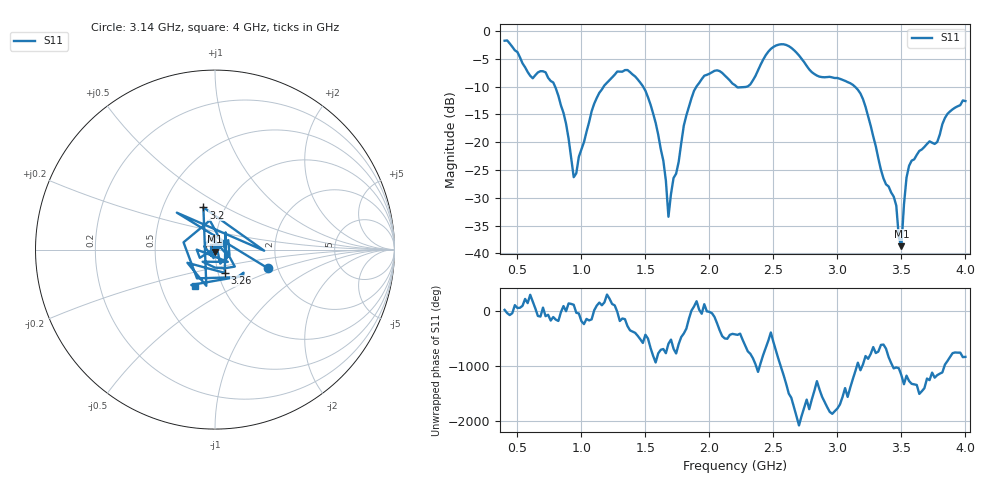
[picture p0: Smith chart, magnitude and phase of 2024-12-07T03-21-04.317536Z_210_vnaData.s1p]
!Created with skrf (http://scikit-rf.org).
# Hz S RI R 50.0
!freq ReS11 ImS11
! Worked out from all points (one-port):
!   181 points, 400 MHz to 4 GHz, reference 50 ohm
!   lowest |S11| = -38.7 dB at 3.5 GHz (marker M1), VSWR 1.02, Z = 50 - j1.16 ohm
!   |S11| at or under -10 dB: 794.2 MHz to 1.174 GHz (379.8 MHz wide, 38.6 % of centre); 1.482 GHz to 1.899 GHz (416.8 MHz wide, 24.7 % of centre); 3.136 GHz to end of sweep (the widest 3 of 4)
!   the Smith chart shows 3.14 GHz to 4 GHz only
!   S11 on the Smith chart (normalised r, x): 3.14 GHz: 1.78, -0.41; 3.2 GHz: 0.79, +0.40; 3.26 GHz: 1.08, -0.28; 4 GHz: 0.74, -0.32
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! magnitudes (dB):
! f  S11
! 400 MHz  -1.8
! 620 MHz  -8.5
! 720 MHz  -7.4
! 860 MHz  -14.7
! 940 MHz  -26.3
! 1.1 GHz  -13.1
! 1.3 GHz  -7.3
! 1.54 GHz  -13.2
! 1.64 GHz  -23.3
! 1.68 GHz  -33.4
! 1.76 GHz  -23.5
! 1.82 GHz  -15.2
! 1.94 GHz  -8.7
! 2.2 GHz  -9.7
! 2.32 GHz  -9.6
! 2.5 GHz  -2.9
! 2.66 GHz  -3.4
! 2.84 GHz  -8.0
! 3.1 GHz  -9.4
! 3.14 GHz  -10.1
! 3.2 GHz  -12.3
! 3.26 GHz  -17.0
! 3.36 GHz  -26.5
! 3.46 GHz  -31.4
! 3.5 GHz  -38.7
! 3.54 GHz  -26.4
! 3.56 GHz  -24.2
! 4 GHz  -12.6
